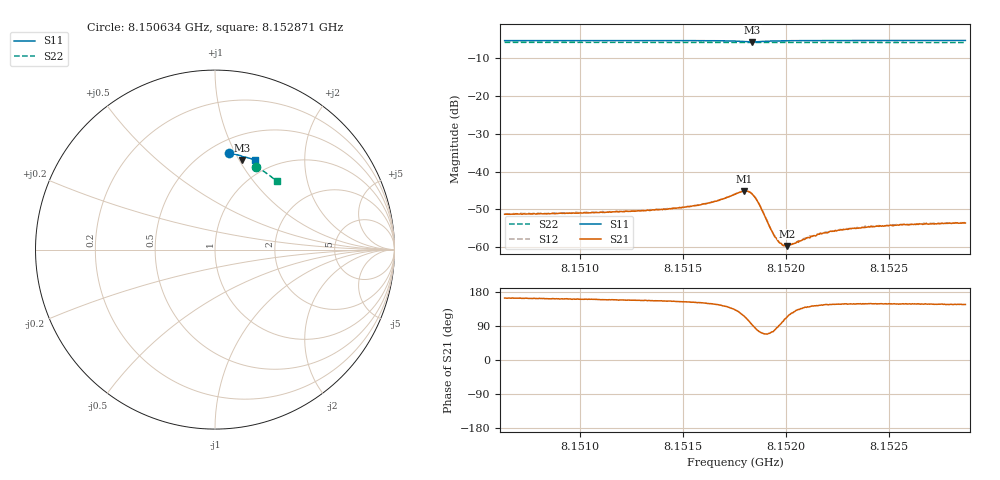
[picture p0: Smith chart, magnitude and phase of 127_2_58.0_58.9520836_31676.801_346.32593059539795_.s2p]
#  HZ  S  RI  R  50.00
! Rohde & Schwarz Vector Network Analyzer
! Rohde-Schwarz,ZNB20-2Port,1311601062101988,3.16
! Created: UTC 3/21/2024, 12:55:58 AM
! freq[Hz]  re:S11  im:S11  re:S21  im:S21  re:S12  im:S12  re:S22  im:S22
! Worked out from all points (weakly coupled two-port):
!   401 points, 8.150634 GHz to 8.152871 GHz, reference 50 ohm
!   highest |S21| = -45.17 dB at 8.151797 GHz (marker M1); lowest = -59.7 dB at 8.152004 GHz (marker M2)
!   lowest |S11| = -5.6 dB at 8.151836 GHz (marker M3), VSWR 3.18, Z = 37.6 + j51.6 ohm
!   |S11| at or under -10 dB: nowhere
!   |S22| runs from -5.8 to -5.8 dB; largest |S21 - S12| = 0.00012
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8.150634e9  0.0768 0.5364  -0.00261 0.000774  -0.00262 0.000823  0.2266 0.4622
8.1510087e9  0.1033 0.5326  -0.00267 0.000953  -0.00268 0.00101  0.248 0.4505
8.1513835e9  0.1302 0.5269  -0.00287 0.00127  -0.00288 0.00134  0.2686 0.4379
8.1515736e9  0.145 0.5225  -0.00315 0.0017  -0.00317 0.00177  0.2787 0.4312
8.1516631e9  0.1527 0.5186  -0.00339 0.00224  -0.00341 0.00235  0.2835 0.4279
8.1517526e9  0.1601 0.5103  -0.00339 0.00369  -0.0034 0.00376  0.2883 0.4242
8.1517973e9  0.1596 0.5026  -0.00238 0.00498  -0.0023 0.00502  0.2903 0.4224
8.1518197e9  0.1559 0.4995  -0.00121 0.00528  -0.00117 0.00532  0.2912 0.4216
8.1518365e9  0.1519 0.4994  -0.00022 0.00503  -0.000164 0.00506  0.2921 0.421
8.1518533e9  0.1487 0.5014  0.00056 0.00439  0.000622 0.00443  0.2927 0.4205
8.15187e9  0.1473 0.5046  0.000958 0.00358  0.000998 0.00356  0.2936 0.4201
8.1519316e9  0.1517 0.5136  0.000445 0.00157  0.000485 0.00158  0.2969 0.4182
8.1519484e9  0.1538 0.5148  0.000217 0.00133  0.000273 0.00136  0.2979 0.4175
8.1519763e9  0.157 0.5158  -0.000121 0.00112  -0.00011 0.00112  0.2994 0.4165
8.1520043e9  0.1601 0.5161  -0.000402 0.000959  -0.000399 0.00095  0.3009 0.4153
8.1520155e9  0.1612 0.516  -0.000512 0.000917  -0.000473 0.000959  0.3015 0.415
8.1521273e9  0.1714 0.5149  -0.0011 0.000844  -0.00107 0.000896  0.3071 0.4106
8.1522224e9  0.179 0.5131  -0.00135 0.00089  -0.00134 0.000923  0.3121 0.4069
8.1522895e9  0.184 0.5116  -0.00147 0.000905  -0.00147 0.000954  0.3154 0.4041
8.1525021e9  0.1989 0.5067  -0.00166 0.001  -0.0016 0.00105  0.3258 0.3954
8.1526755e9  0.2107 0.5025  -0.00172 0.00106  -0.00169 0.00114  0.3342 0.3881
8.1528712e9  0.2236 0.4972  -0.00175 0.00115  -0.00174 0.00119  0.3434 0.3795
